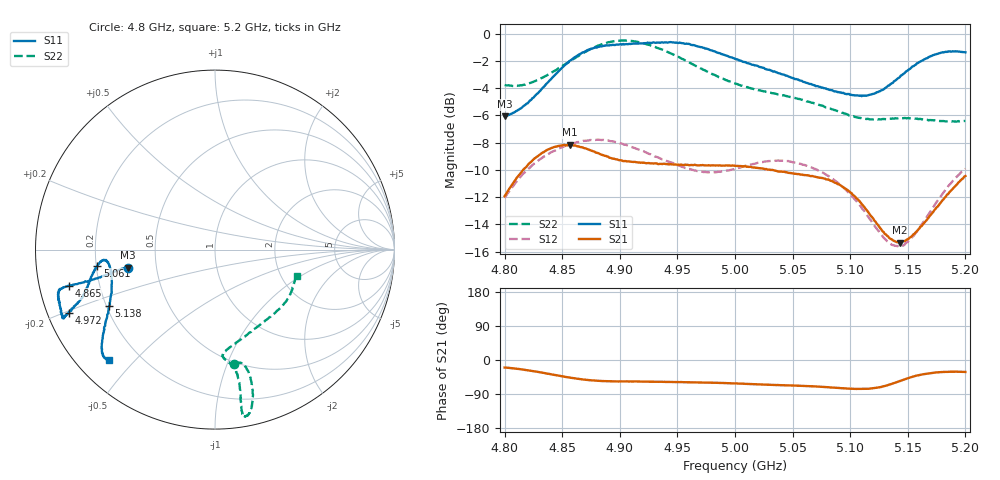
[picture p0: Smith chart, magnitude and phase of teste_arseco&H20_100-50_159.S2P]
! Network Analyzer HP8722D
! Hewlett-Packard
! Data name: Linha & Wilkinson
! Saver's name: Rodrigo Anjos
! Comments: Teste da utilização de aquisição
! continua pelo VNA HP8722D
! Time and date: 6/5/2025 13:53
!  Frequency  S11  S21  S12  S22
# HZ  S  MA R 50
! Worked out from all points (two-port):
!   401 points, 4.8 GHz to 5.2 GHz, reference 50 ohm
!   highest |S21| = -8.16 dB at 4.857 GHz (marker M1); lowest = -15.3 dB at 5.143 GHz (marker M2)
!   |S21| within 3 dB of the highest: 4.806 GHz to 5.092 GHz (286.2 MHz wide, 5.78 % of centre); 5.191546 GHz to end of sweep
!   lowest |S11| = -6.1 dB at 4.8 GHz (marker M3), VSWR 2.98, Z = 16.9 - j4.54 ohm
!   |S11| at or under -10 dB: nowhere
!   |S22| runs from -6.5 to -0.5 dB; largest |S21 - S12| = 0.62
!   S11 on the Smith chart (normalised r, x): 4.8 GHz: 0.34, -0.09; 4.865 GHz: 0.09, -0.12; 4.972 GHz: 0.06, -0.21; 5.061 GHz: 0.20, -0.07; 5.138 GHz: 0.21, -0.24; 5.2 GHz: 0.09, -0.42
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4.8e9  0.4974 -168.3  0.2533 -19.9  0.2495 -141.1  0.6485 -80.4
4.828e9  0.6016 -167.2  0.3534 -30.9  0.3388 -145.1  0.6749 -75.4
4.857e9  0.7978 -166.0  0.3909 -46.7  0.3923 -150.5  0.7929 -74.8
4.865e9  0.8401 -166.1  0.3845 -50.2  0.4012 -151.9  0.8339 -75.3
4.867e9  0.8493 -166.0  0.3832 -51.0  0.4024 -152.3  0.8427 -75.5
4.881e9  0.8942 -165.5  0.3646 -54.9  0.4085 -154.6  0.9047 -77.0
4.9e9  0.914 -162.9  0.3434 -56.5  0.3955 -156.6  0.9424 -79.2
4.934e9  0.9274 -156.6  0.3323 -57.6  0.3503 -155.8  0.8824 -80.6
4.953e9  0.9253 -155.7  0.3309 -58.2  0.3258 -152.1  0.8134 -80.0
4.972e9  0.889 -156.6  0.3295 -59.1  0.3109 -146.3  0.7388 -79.7
5e9  0.8088 -159.1  0.3274 -61.9  0.3196 -137.4  0.6561 -81.4
5.036e9  0.7219 -165.7  0.3136 -66.1  0.3418 -134.6  0.6009 -85.7
5.061e9  0.6616 -172.1  0.3026 -68.5  0.3291 -136.5  0.5688 -84.0
5.067e9  0.6505 -173.1  0.3003 -69.4  0.3222 -137.0  0.5575 -82.5
5.087e9  0.614 -174.5  0.2834 -73.3  0.2885 -138.6  0.5239 -74.8
5.103e9  0.5948 -171.4  0.2548 -76.2  0.2493 -138.8  0.498 -65.1
5.134e9  0.6466 -154.4  0.1776 -65.3  0.1704 -120.5  0.487 -43.2
5.138e9  0.669 -151.9  0.1736 -61.0  0.1671 -115.4  0.4875 -40.8
5.143e9  0.6922 -149.2  0.1711 -55.6  0.166 -108.8  0.4888 -38.0
5.154e9  0.758 -144.7  0.1817 -44.2  0.1795 -94.9  0.489 -32.2
5.173e9  0.8367 -139.1  0.2249 -33.4  0.2338 -80.9  0.4811 -24.3
5.2e9  0.8544 -133.8  0.3004 -31.5  0.3194 -77.1  0.4783 -17.6
